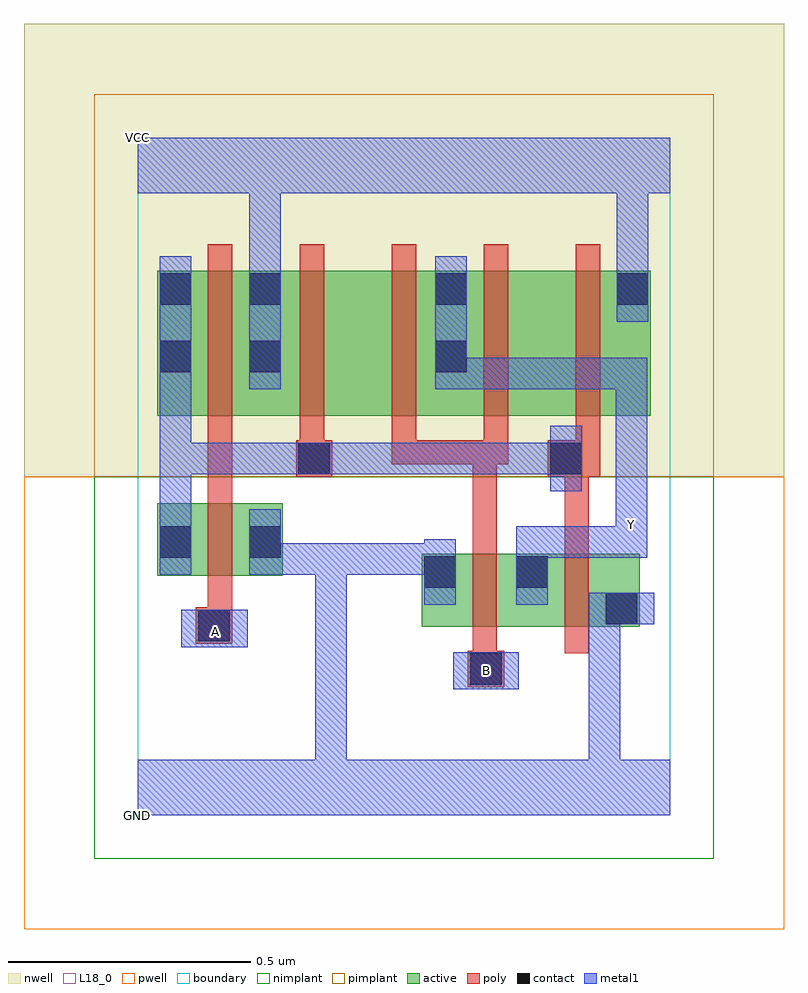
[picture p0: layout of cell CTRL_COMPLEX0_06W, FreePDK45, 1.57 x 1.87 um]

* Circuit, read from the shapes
.subckt CTRL_COMPLEX0_06W A B GND VCC Y
M1 GND A n1 VSUBS nfet w=0.15u l=0.05u
M2 Y B GND VSUBS nfet w=0.15u l=0.05u
M3 GND n1 Y VSUBS nfet w=0.15u l=0.05u
M4 VCC A n1 n2 pfet w=0.3u l=0.05u
M5 n3 n1 VCC n2 pfet w=0.3u l=0.05u
M6 Y B n3 n2 pfet w=0.3u l=0.05u
M7 n4 B Y n2 pfet w=0.3u l=0.05u
M8 VCC n1 n4 n2 pfet w=0.3u l=0.05u
.ends

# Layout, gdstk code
import gdstk
lib = gdstk.Library(unit=1e-6, precision=1e-09)
def R(c, l, rs):  # rectangles x0, y0, x1, y1
    for r in rs: c.add(gdstk.rectangle(r[:2], r[2:], *l))
def A(c, l, x, y, w, h, nx, ny, dx, dy):  # array of equal rectangles
    R(c, l, [(x+i*dx, y+j*dy, x+i*dx+w, y+j*dy+h) for i in range(nx) for j in range(ny)])
active = (1, 0)
pwell = (2, 0)
nwell = (3, 0)
nimplant = (4, 0)
pimplant = (5, 0)
poly = (9, 0)
contact = (10, 0)
metal1 = (11, 0)
L18_0 = (18, 0)
boundary = (235, 0)

ctrl_complex0_06w = lib.new_cell('CTRL_COMPLEX0_06W')
R(ctrl_complex0_06w, active, [(0.587,0.39,0.662,0.54), (0.587,0.39,0.852,0.54), (0.777,0.39,1.037,0.54), (0.962,0.39,1.037,0.54), (0.777,0.44,0.852,0.54), (0.04,0.495,0.115,0.645), (0.04,0.495,0.3,0.645), (0.225,0.495,0.3,0.645), (0.04,0.825,0.115,1.125), (0.04,0.825,0.3,1.125), (0.225,0.825,0.3,1.125), (0.225,0.825,0.455,1.125), (0.455,0.825,0.685,1.125), (0.61,0.825,0.835,1.125), (0.835,0.825,1.06,1.125), (0.985,0.825,1.06,1.125), (0.61,0.91,0.685,1.125)])
R(ctrl_complex0_06w, pwell, [(-0.235,-0.235,1.335,0.7)])
R(ctrl_complex0_06w, nwell, [(-0.235,0.7,1.335,1.635)])
R(ctrl_complex0_06w, nimplant, [(-0.09,-0.09,1.19,0.7)])
R(ctrl_complex0_06w, pimplant, [(-0.09,0.7,1.19,1.49)])
A(ctrl_complex0_06w, poly, 0.145, 0.725, 0.05, 0.095, 5, 1, 0.19, 0)
A(ctrl_complex0_06w, poly, 0.145, 0.77, 0.05, 0.41, 5, 1, 0.19, 0)
R(ctrl_complex0_06w, poly, [(0.682,0.265,0.757,0.34), (0.692,0.29,0.742,0.385), (0.692,0.335,0.742,0.595), (0.882,0.335,0.932,0.595), (0.12,0.355,0.195,0.43), (0.145,0.38,0.195,0.49), (0.145,0.44,0.195,0.7), (0.692,0.545,0.742,0.775), (0.882,0.545,0.932,0.75), (0.145,0.65,0.195,0.775), (0.327,0.7,0.402,0.775), (0.847,0.7,0.955,0.775), (0.145,0.725,0.195,0.775), (0.525,0.725,0.742,0.775), (0.525,0.725,0.575,0.775), (0.525,0.725,0.575,0.775), (0.525,0.725,0.575,0.775), (0.692,0.725,0.765,0.775)])
R(ctrl_complex0_06w, contact, [(0.687,0.27,0.752,0.335), (0.125,0.36,0.19,0.425), (0.967,0.395,1.032,0.46), (0.592,0.47,0.657,0.535), (0.782,0.47,0.847,0.535), (0.045,0.532,0.11,0.597), (0.23,0.532,0.295,0.597), (0.332,0.705,0.397,0.77), (0.852,0.705,0.917,0.77), (0.045,0.915,0.11,0.98), (0.23,0.915,0.295,0.98), (0.615,0.915,0.68,0.98), (0.045,1.055,0.11,1.12), (0.23,1.055,0.295,1.12), (0.615,1.055,0.68,1.12), (0.99,1.055,1.055,1.12)])
R(ctrl_complex0_06w, metal1, [(0,0,1.1,0.115), (0.367,0.05,0.432,0.115), (0.367,0.05,0.432,0.115), (0.367,0.05,0.432,0.115), (0.367,0.05,0.432,0.115), (0.367,0.05,0.432,0.115), (0.367,0.05,0.432,0.115), (0.367,0.05,0.432,0.115), (0.367,0.05,0.432,0.115), (0.367,0.05,0.432,0.562), (0.932,0.05,0.997,0.115), (0.932,0.05,0.997,0.115), (0.932,0.05,0.997,0.46), (0.652,0.26,0.787,0.337), (0.09,0.347,0.227,0.425), (0.932,0.395,0.997,0.46), (0.932,0.395,0.997,0.46), (0.932,0.395,0.997,0.46), (0.932,0.395,0.997,0.46), (0.932,0.395,1.067,0.46), (0.592,0.435,0.657,0.57), (0.782,0.435,0.847,0.57), (0.045,0.497,0.11,0.632), (0.23,0.497,0.295,0.632), (0.23,0.497,0.432,0.562), (0.367,0.497,0.432,0.562), (0.367,0.497,0.432,0.562), (0.367,0.497,0.432,0.562), (0.367,0.497,0.57,0.562), (0.505,0.497,0.57,0.562), (0.505,0.497,0.657,0.562), (0.782,0.505,0.847,0.57), (0.782,0.505,0.847,0.597), (0.782,0.532,1.052,0.597), (0.987,0.532,1.052,0.597), (0.987,0.532,1.052,0.597), (0.987,0.532,1.052,0.667), (0.045,0.567,0.11,0.77), (0.987,0.602,1.052,0.945), (0.852,0.67,0.917,0.805), (0.045,0.705,0.11,0.77), (0.045,0.705,0.11,0.77), (0.045,0.705,0.11,0.77), (0.045,0.705,0.247,0.77), (0.045,0.705,0.11,0.945), (0.182,0.705,0.247,0.77), (0.182,0.705,0.362,0.77), (0.297,0.705,0.432,0.77), (0.367,0.705,0.432,0.77), (0.367,0.705,0.432,0.77), (0.367,0.705,0.572,0.77), (0.507,0.705,0.572,0.77), (0.507,0.705,0.71,0.77), (0.645,0.705,0.71,0.77), (0.645,0.705,0.71,0.77), (0.645,0.705,0.71,0.77), (0.645,0.705,0.86,0.77), (0.795,0.705,0.86,0.77), (0.795,0.705,0.917,0.77), (0.045,0.88,0.11,1.155), (0.23,0.88,0.295,1.155), (0.615,0.88,0.71,0.945), (0.615,0.88,0.68,1.155), (0.645,0.88,0.71,0.945), (0.645,0.88,0.86,0.945), (0.795,0.88,0.86,0.945), (0.795,0.88,1.052,0.945), (0.987,0.88,1.052,0.945), (0.987,0.88,1.052,0.945), (0.987,0.88,1.052,0.945), (0.99,1.02,1.055,1.155), (0.23,1.09,0.295,1.35), (0.99,1.09,1.055,1.35), (0,1.285,1.1,1.4), (0.23,1.285,0.295,1.35), (0.23,1.285,0.295,1.35), (0.99,1.285,1.055,1.35), (0.99,1.285,1.055,1.35)])
R(ctrl_complex0_06w, L18_0, [(0,0,1.1,0.115), (0.367,0.05,0.432,0.115), (0.367,0.05,0.432,0.115), (0.367,0.05,0.432,0.115), (0.367,0.05,0.432,0.115), (0.367,0.05,0.432,0.115), (0.367,0.05,0.432,0.115), (0.367,0.05,0.432,0.115), (0.367,0.05,0.432,0.115), (0.367,0.05,0.432,0.562), (0.932,0.05,0.997,0.115), (0.932,0.05,0.997,0.115), (0.932,0.05,0.997,0.46), (0.652,0.26,0.787,0.337), (0.687,0.267,0.752,0.332), (0.09,0.347,0.227,0.425), (0.127,0.347,0.192,0.412), (0.932,0.395,0.997,0.46), (0.932,0.395,0.997,0.46), (0.932,0.395,0.997,0.46), (0.932,0.395,0.997,0.46), (0.932,0.395,1.067,0.46), (0.592,0.435,0.657,0.57), (0.782,0.435,0.847,0.57), (0.23,0.497,0.295,0.632), (0.23,0.497,0.432,0.562), (0.367,0.497,0.432,0.562), (0.367,0.497,0.432,0.562), (0.367,0.497,0.432,0.562), (0.367,0.497,0.57,0.562), (0.505,0.497,0.57,0.562), (0.505,0.497,0.657,0.562), (0.782,0.505,0.847,0.57), (0.782,0.505,0.847,0.597), (0.782,0.532,1.052,0.597), (0.987,0.532,1.052,0.667), (0.987,0.532,1.052,0.597), (0.987,0.532,1.052,0.597), (0.987,0.567,1.052,0.632), (0.987,0.602,1.052,0.945), (0.23,0.88,0.295,1.155), (0.615,0.88,0.68,1.155), (0.615,0.88,0.71,0.945), (0.645,0.88,0.71,0.945), (0.645,0.88,0.86,0.945), (0.795,0.88,0.86,0.945), (0.795,0.88,1.052,0.945), (0.987,0.88,1.052,0.945), (0.987,0.88,1.052,0.945), (0.987,0.88,1.052,0.945), (0.99,1.02,1.055,1.155), (0.23,1.09,0.295,1.35), (0.99,1.09,1.055,1.35), (0,1.285,1.1,1.4), (0.23,1.285,0.295,1.35), (0.23,1.285,0.295,1.35), (0.99,1.285,1.055,1.35), (0.99,1.285,1.055,1.35)])
R(ctrl_complex0_06w, boundary, [(0,0,1.1,1.4)])
ctrl_complex0_06w.add(gdstk.Label('A', (0.16,0.38), layer=11, texttype=0))
ctrl_complex0_06w.add(gdstk.Label('B', (0.72,0.3), layer=11, texttype=0))
ctrl_complex0_06w.add(gdstk.Label('Y', (1.02,0.6), layer=11, texttype=0))
ctrl_complex0_06w.add(gdstk.Label('VCC', (0,1.4), layer=11, texttype=0))
ctrl_complex0_06w.add(gdstk.Label('GND', (0,0), layer=11, texttype=0))

lib.write_gds('CTRL_COMPLEX0_06W.gds')
